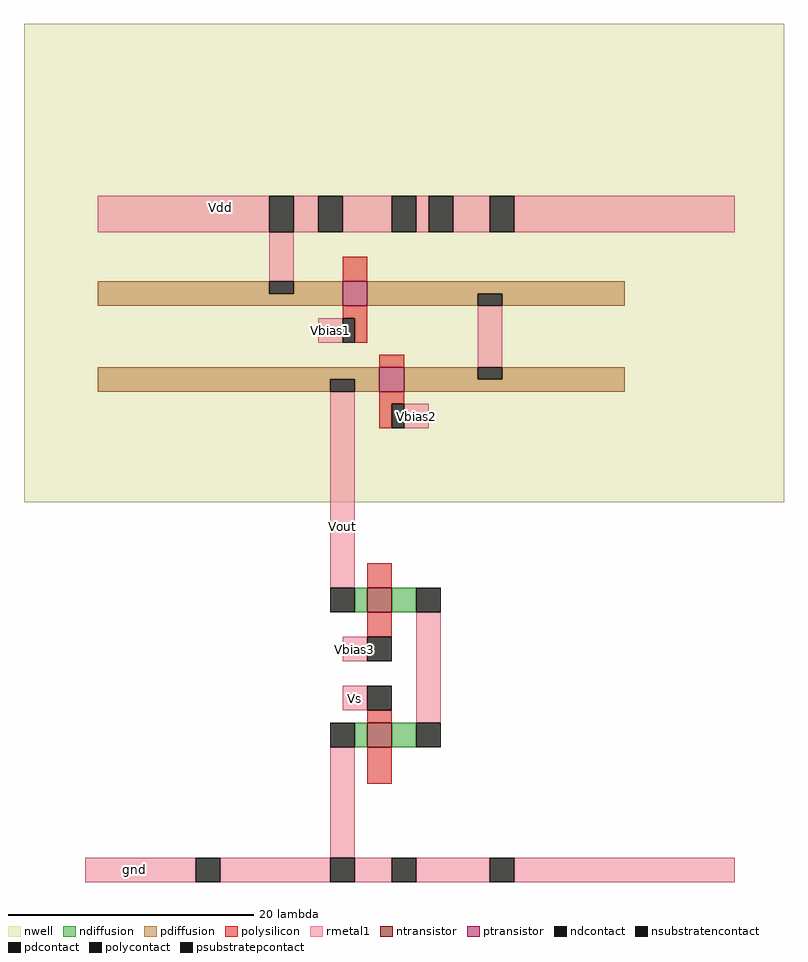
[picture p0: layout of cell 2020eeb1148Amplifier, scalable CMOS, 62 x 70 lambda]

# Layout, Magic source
magic
tech scmos
<< nwell >>
rect -27 -10 35 29
<< ntransistor >>
rect 1 -19 3 -17
rect 1 -30 3 -28
<< ptransistor >>
rect -1 6 1 8
rect 2 -1 4 1
<< ndiffusion >>
rect 0 -19 1 -17
rect 3 -19 5 -17
rect 0 -30 1 -28
rect 3 -30 5 -28
<< pdiffusion >>
rect -21 7 -7 8
rect -5 7 -1 8
rect -21 6 -1 7
rect 1 7 22 8
rect 1 6 10 7
rect 12 6 22 7
rect -21 0 2 1
rect -21 -1 -2 0
rect 0 -1 2 0
rect 4 0 10 1
rect 12 0 22 1
rect 4 -1 22 0
<< ndcontact >>
rect -2 -19 0 -17
rect 5 -19 7 -17
rect -2 -30 0 -28
rect 5 -30 7 -28
<< pdcontact >>
rect -7 7 -5 8
rect 10 6 12 7
rect -2 -1 0 0
rect 10 0 12 1
<< psubstratepcontact >>
rect -13 -41 -11 -39
rect -2 -41 0 -39
rect 3 -41 5 -39
rect 11 -41 13 -39
<< nsubstratencontact >>
rect -7 12 -5 15
rect -3 12 -1 15
rect 3 12 5 15
rect 6 12 8 15
rect 11 12 13 15
<< polysilicon >>
rect -1 8 1 10
rect -1 5 1 6
rect 0 3 1 5
rect 2 1 4 2
rect 2 -2 4 -1
rect 2 -4 3 -2
rect 1 -17 3 -15
rect 1 -21 3 -19
rect 1 -28 3 -27
rect 1 -33 3 -30
<< polycontact >>
rect -1 3 0 5
rect 3 -4 4 -2
rect 1 -23 3 -21
rect 1 -27 3 -25
<< rmetal1 >>
rect -21 12 -7 15
rect -5 12 -3 15
rect -1 12 3 15
rect 5 12 6 15
rect 8 12 11 15
rect 13 12 31 15
rect -7 8 -5 12
rect -3 3 -1 5
rect 10 1 12 6
rect -2 -17 0 -1
rect 4 -4 6 -2
rect -1 -23 1 -21
rect -1 -27 1 -25
rect 5 -28 7 -19
rect -2 -39 0 -30
rect -22 -41 -13 -39
rect -11 -41 -2 -39
rect 0 -41 3 -39
rect 5 -41 11 -39
rect 13 -41 31 -39
<< labels >>
rlabel rmetal1 -11 14 -11 14 1 Vdd
rlabel rmetal1 -18 -40 -18 -40 1 gnd
rlabel rmetal1 -2 4 -2 4 1 Vbias1
rlabel rmetal1 5 -3 5 -3 1 Vbias2
rlabel rmetal1 0 -22 0 -22 1 Vbias3
rlabel rmetal1 0 -26 0 -26 1 Vs
rlabel rmetal1 -1 -12 -1 -12 1 Vout
<< end >>
